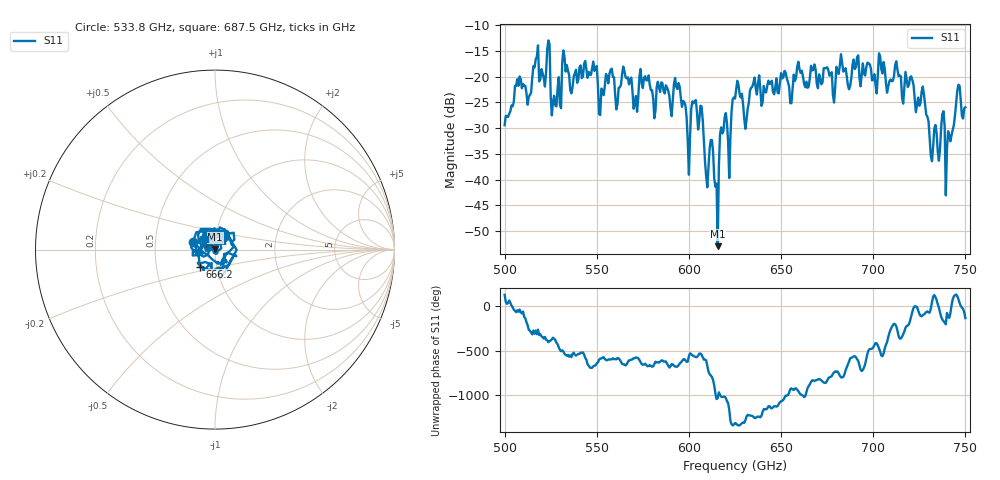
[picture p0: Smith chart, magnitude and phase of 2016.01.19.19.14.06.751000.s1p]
!Created with skrf (http://scikit-rf.org).
# GHz S RI R 50.0
!freq ReS11 ImS11
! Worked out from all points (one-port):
!   401 points, 500 GHz to 750 GHz, reference 50 ohm
!   lowest |S11| = -52.9 dB at 615.6 GHz (marker M1), VSWR 1.00, Z = 50.2 + j0.164 ohm
!   |S11| at or under -10 dB: start of sweep to end of sweep
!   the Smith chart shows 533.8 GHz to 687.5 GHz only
!   S11 on the Smith chart (normalised r, x): 533.8 GHz: 0.78, +0.06; 666.2 GHz: 0.83, -0.16; 687.5 GHz: 0.89, +0.10
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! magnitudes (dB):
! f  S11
! 500 GHz  -29.4
! 507.5 GHz  -21.8
! 513.1 GHz  -23.9
! 516.9 GHz  -16.6
! 523.8 GHz  -13.0
! 526.9 GHz  -23.7
! 531.2 GHz  -17.3
! 533.8 GHz  -17.7
! 562.5 GHz  -22.1
! 593.8 GHz  -22.4
! 599.4 GHz  -32.7
! 602.5 GHz  -25.2
! 606.9 GHz  -25.8
! 609.4 GHz  -39.5
! 611.9 GHz  -32.3
! 615.6 GHz  -52.9
! 618.1 GHz  -31.0
! 621.9 GHz  -39.7
! 625 GHz  -24.3
! 656.2 GHz  -22.3
! 666.2 GHz  -17.9
! 687.5 GHz  -21.8
! 718.8 GHz  -22.0
! 727.5 GHz  -23.4
! 731.9 GHz  -36.4
! 740.6 GHz  -30.6
! 746.2 GHz  -21.6
! 750 GHz  -25.9
